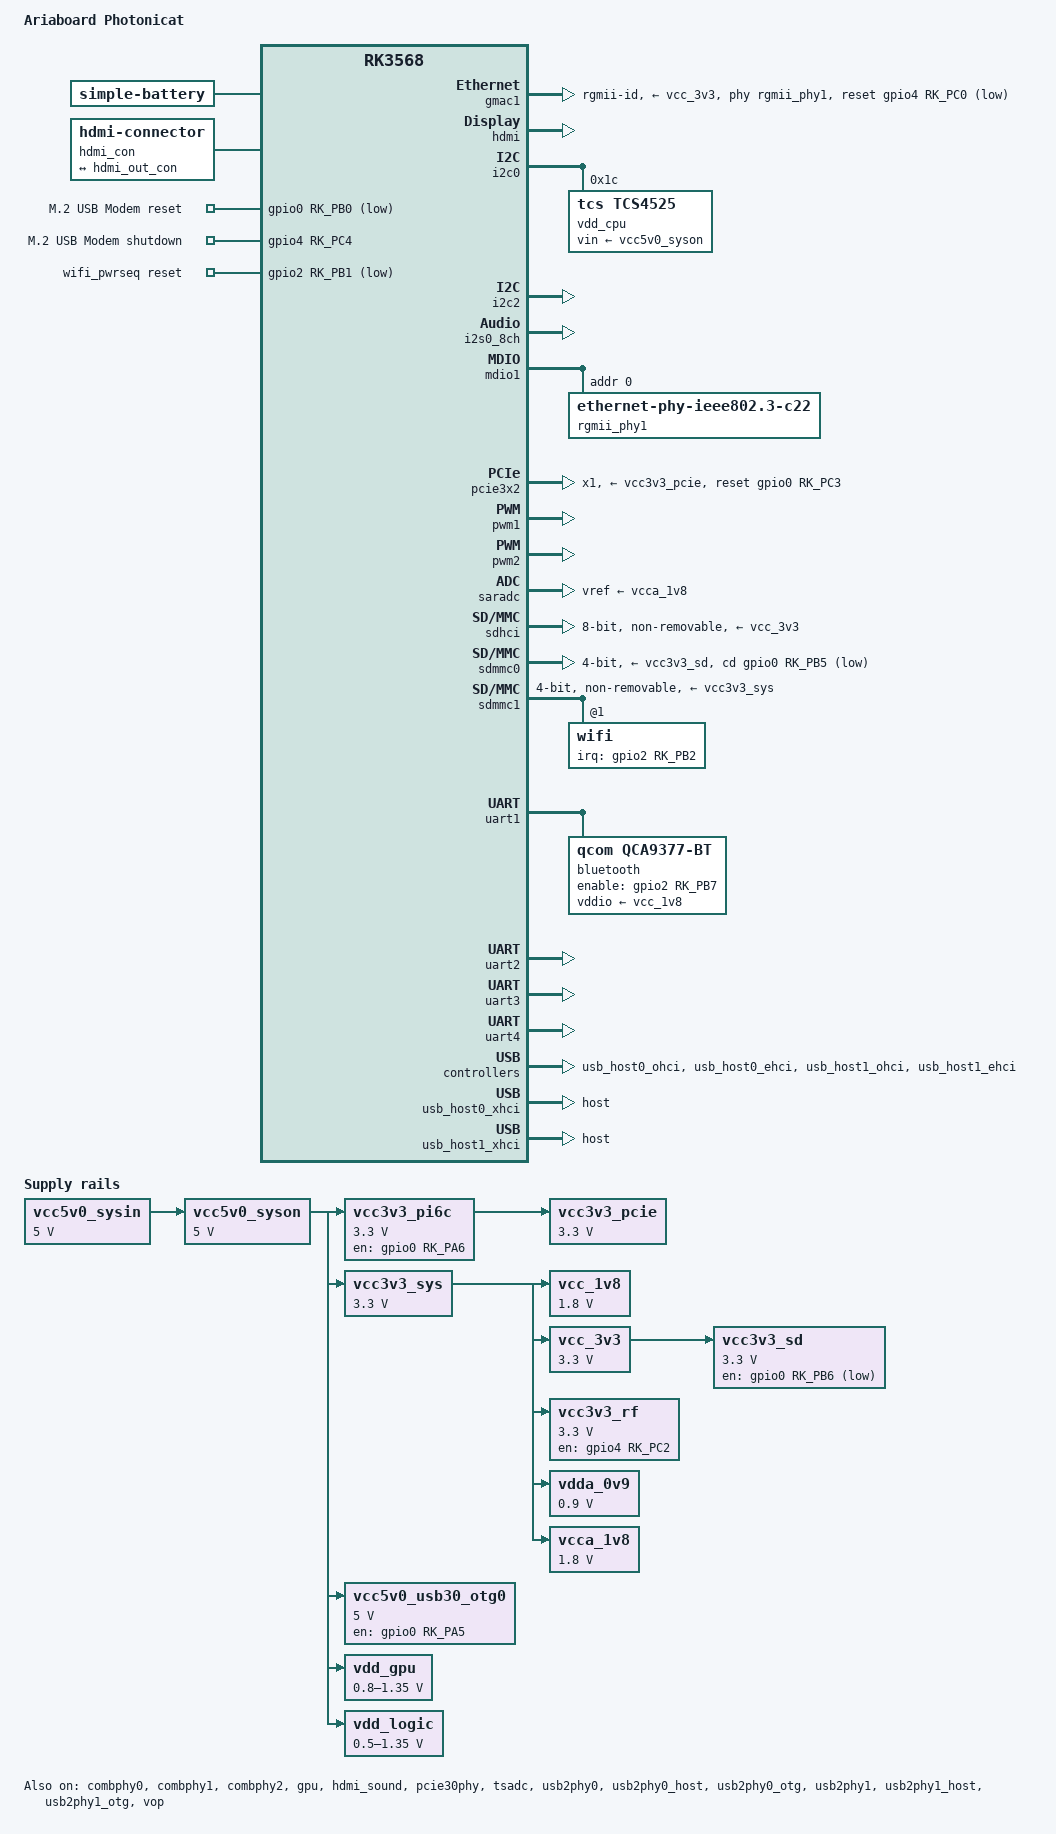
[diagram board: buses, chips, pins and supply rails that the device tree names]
// SPDX-License-Identifier: (GPL-2.0+ OR MIT)

/dts-v1/;

#include <dt-bindings/gpio/gpio.h>
#include <dt-bindings/input/input.h>
#include <dt-bindings/leds/common.h>
#include <dt-bindings/pinctrl/rockchip.h>
#include <dt-bindings/soc/rockchip,vop2.h>
#include <dt-bindings/soc/rockchip,boot-mode.h>
#include "rk3568.dtsi"

/ {
	model = "Ariaboard Photonicat";
	compatible = "ariaboard,photonicat", "rockchip,rk3568";

	aliases {
		ethernet0 = &gmac0;
		ethernet1 = &gmac1;
		mmc0 = &sdhci;
		mmc1 = &sdmmc0;
		mmc2 = &sdmmc1;
	};

	battery: battery {
		compatible = "simple-battery";
		device-chemistry = "lithium-ion";
		charge-full-design-microamp-hours = <6800000>;
		energy-full-design-microwatt-hours = <25000000>;
		voltage-max-design-microvolt = <4200000>;
		voltage-min-design-microvolt = <3400000>;

		ocv-capacity-celsius = <25>;
		ocv-capacity-table-0 =  <4100000 100>, <4040000 90>,
					<3980000 80>, <3920000 70>,
					<3870000 60>, <3820000 50>,
					<3790000 40>, <3770000 30>,
					<3740000 20>, <3680000 10>,
					<3450000 0>;
	};

	chosen: chosen {
		stdout-path = "serial2:1500000n8";
	};

	hdmi_con: hdmi-con {
		compatible = "hdmi-connector";
		type = "a";

		port {
			hdmi_con_in: endpoint {
				remote-endpoint = <&hdmi_out_con>;
			};
		};
	};

	rfkill-modem {
		compatible = "rfkill-gpio";
		label = "M.2 USB Modem";
		radio-type = "wwan";
		reset-gpios = <&gpio0 RK_PB0 GPIO_ACTIVE_LOW>;
		shutdown-gpios = <&gpio4 RK_PC4 GPIO_ACTIVE_HIGH>;
	};

	vcc_1v8: regulator-1v8-vcc {
		compatible = "regulator-fixed";
		regulator-name = "vcc_1v8";
		regulator-always-on;
		regulator-boot-on;
		regulator-min-microvolt = <1800000>;
		regulator-max-microvolt = <1800000>;
		vin-supply = <&vcc3v3_sys>;
	};

	vcc_3v3: regulator-3v3-vcc {
		compatible = "regulator-fixed";
		regulator-name = "vcc_3v3";
		regulator-always-on;
		regulator-boot-on;
		regulator-min-microvolt = <3300000>;
		regulator-max-microvolt = <3300000>;
		vin-supply = <&vcc3v3_sys>;
	};

	/* actually fed by vcc5v0_syson, dependent
	 * on pi6c clock generator
	 */
	vcc3v3_pcie: regulator-3v3-vcc-pcie {
		compatible = "regulator-fixed";
		regulator-name = "vcc3v3_pcie";
		regulator-always-on;
		regulator-boot-on;
		regulator-min-microvolt = <3300000>;
		regulator-max-microvolt = <3300000>;
		vin-supply = <&vcc3v3_pi6c>;
	};

	/* pi6c pcie clock generator */
	vcc3v3_pi6c: regulator-3v3-vcc-pi6c {
		compatible = "regulator-fixed";
		enable-active-high;
		gpios = <&gpio0 RK_PA6 GPIO_ACTIVE_HIGH>;
		pinctrl-names = "default";
		pinctrl-0 = <&pcie_pwren_h>;
		regulator-name = "vcc3v3_pi6c";
		regulator-min-microvolt = <3300000>;
		regulator-max-microvolt = <3300000>;
		vin-supply = <&vcc5v0_syson>;
	};

	vcc3v3_sd: regulator-3v3-vcc-sd {
		compatible = "regulator-fixed";
		gpio = <&gpio0 RK_PB6 GPIO_ACTIVE_LOW>;
		pinctrl-names = "default";
		pinctrl-0 = <&vcc_sd_h>;
		regulator-boot-on;
		regulator-name = "vcc3v3_sd";
		regulator-min-microvolt = <3300000>;
		regulator-max-microvolt = <3300000>;
		vin-supply = <&vcc_3v3>;
	};

	vcc3v3_sys: regulator-3v3-vcc-sys {
		compatible = "regulator-fixed";
		regulator-name = "vcc3v3_sys";
		regulator-always-on;
		regulator-boot-on;
		regulator-min-microvolt = <3300000>;
		regulator-max-microvolt = <3300000>;
		vin-supply = <&vcc5v0_syson>;
	};

	vcc3v3_rf: regulator-3v3-vcc-rf {
		compatible = "regulator-fixed";
		enable-active-high;
		gpio = <&gpio4 RK_PC2 GPIO_ACTIVE_HIGH>;
		pinctrl-names = "default";
		pinctrl-0 = <&vcc3v3_rf_pwren_en>;
		regulator-name = "vcc3v3_rf";
		regulator-min-microvolt = <3300000>;
		regulator-max-microvolt = <3300000>;
		vin-supply = <&vcc3v3_sys>;
	};

	vcc5v0_sysin: regulator-5v0-vcc-sysin {
		compatible = "regulator-fixed";
		regulator-name = "vcc5v0_sysin";
		regulator-always-on;
		regulator-boot-on;
		regulator-min-microvolt = <5000000>;
		regulator-max-microvolt = <5000000>;
	};

	vcc5v0_syson: regulator-5v0-vcc-syson {
		compatible = "regulator-fixed";
		regulator-name = "vcc5v0_syson";
		regulator-always-on;
		regulator-boot-on;
		regulator-min-microvolt = <5000000>;
		regulator-max-microvolt = <5000000>;
		vin-supply = <&vcc5v0_sysin>;
	};

	vcc5v0_usb30_otg0: regulator-5v0-vcc-usb-host {
		compatible = "regulator-fixed";
		enable-active-high;
		gpio = <&gpio0 RK_PA5 GPIO_ACTIVE_HIGH>;
		pinctrl-names = "default";
		pinctrl-0 = <&usb_host_pwren_h>;
		regulator-name = "vcc5v0_usb30_otg0";
		regulator-min-microvolt = <5000000>;
		regulator-max-microvolt = <5000000>;
		vin-supply = <&vcc5v0_syson>;
	};

	vdda_0v9: regulator-0v9-vdda {
		compatible = "regulator-fixed";
		regulator-name = "vdda_0v9";
		regulator-always-on;
		regulator-boot-on;
		regulator-min-microvolt = <900000>;
		regulator-max-microvolt = <900000>;
		vin-supply = <&vcc3v3_sys>;
	};

	vcca_1v8: regulator-1v8-vcca {
		compatible = "regulator-fixed";
		regulator-name = "vcca_1v8";
		regulator-always-on;
		regulator-boot-on;
		regulator-min-microvolt = <1800000>;
		regulator-max-microvolt = <1800000>;
		vin-supply = <&vcc3v3_sys>;
	};

	vdd_gpu: regulator-vdd-gpu {
		compatible = "pwm-regulator";
		pwms = <&pwm2 0 5000 1>;
		pwm-supply = <&vcc5v0_syson>;
		regulator-name = "vdd_gpu";
		regulator-min-microvolt = <800000>;
		regulator-max-microvolt = <1350000>;
		regulator-ramp-delay = <6001>;
		regulator-settling-time-up-us = <250>;
	};

	vdd_logic: regulator-vdd-logic {
		compatible = "pwm-regulator";
		pwms = <&pwm1 0 5000 1>;
		pwm-supply = <&vcc5v0_syson>;
		regulator-name = "vdd_logic";
		regulator-min-microvolt = <500000>;
		regulator-max-microvolt = <1350000>;
		regulator-ramp-delay = <6001>;
		regulator-settling-time-up-us = <250>;
	};

	wifi_pwrseq: wifi-pwrseq {
		compatible = "mmc-pwrseq-simple";
		clocks = <&pmucru CLK_RTC_32K>;
		clock-names = "ext_clock";
		pinctrl-names = "default";
		pinctrl-0 = <&wifi_reg_on_h &clk32k_out1>;
		post-power-on-delay-ms = <200>;
		reset-gpios = <&gpio2 RK_PB1 GPIO_ACTIVE_LOW>;
	};
};

&combphy0 {
	status = "okay";
};

&combphy1 {
	status = "okay";
};

&combphy2 {
	status = "okay";
};

&cpu0 {
	cpu-supply = <&vdd_cpu>;
};

&cpu1 {
	cpu-supply = <&vdd_cpu>;
};

&cpu2 {
	cpu-supply = <&vdd_cpu>;
};

&cpu3 {
	cpu-supply = <&vdd_cpu>;
};

&gmac0 {
	status = "disabled";
	/* Motorcomm YT8521SC LAN port (require SGMII) */
};

&gmac1 {
	assigned-clocks = <&cru SCLK_GMAC1_RX_TX>, <&cru SCLK_GMAC1>;
	assigned-clock-parents = <&cru SCLK_GMAC1_RGMII_SPEED>;
	assigned-clock-rates = <0>, <125000000>;
	clock_in_out = "output";
	phy-handle = <&rgmii_phy1>;
	phy-mode = "rgmii-id";
	phy-supply = <&vcc_3v3>;
	pinctrl-names = "default";
	pinctrl-0 = <&gmac1m1_miim
		     &gmac1m1_tx_bus2
		     &gmac1m1_rx_bus2
		     &gmac1m1_rgmii_clk
		     &gmac1m1_rgmii_bus>;
	snps,reset-gpio = <&gpio4 RK_PC0 GPIO_ACTIVE_LOW>;
	snps,reset-active-low;
	snps,reset-delays-us = <0 20000 100000>;
	tx_delay = <0x0>;
	rx_delay = <0x0>;
	status = "okay";
	/* Motorcomm YT8521SC WAN port */
};

&gpu {
	mali-supply = <&vdd_gpu>;
	status = "okay";
};

&hdmi {
	avdd-0v9-supply = <&vdda_0v9>;
	avdd-1v8-supply = <&vcca_1v8>;
	status = "okay";
};

&hdmi_in {
	hdmi_in_vp0: endpoint {
		remote-endpoint = <&vp0_out_hdmi>;
	};
};

&hdmi_out {
	hdmi_out_con: endpoint {
		remote-endpoint = <&hdmi_con_in>;
	};
};

&hdmi_sound {
	status = "okay";
};

&i2c0 {
	status = "okay";

	vdd_cpu: regulator@1c {
		compatible = "tcs,tcs4525";
		reg = <0x1c>;
		fcs,suspend-voltage-selector = <1>;
		regulator-name = "vdd_cpu";
		regulator-always-on;
		regulator-boot-on;
		regulator-min-microvolt = <800000>;
		regulator-max-microvolt = <1150000>;
		regulator-ramp-delay = <2300>;
		vin-supply = <&vcc5v0_syson>;

		regulator-state-mem {
			regulator-off-in-suspend;
		};
	};
};

&i2c2 {
	pinctrl-names = "default";
	pinctrl-0 = <&i2c2m1_xfer>;
	status = "okay";
};

&i2s0_8ch {
	status = "okay";
};

&mdio1 {
	rgmii_phy1: ethernet-phy@0 {
		compatible = "ethernet-phy-ieee802.3-c22";
		reg = <0x0>;
		rx-internal-delay-ps = <1500>;
		tx-internal-delay-ps = <1500>;
	};
};

&pcie30phy {
	phy-supply = <&vcc3v3_pi6c>;
	status = "okay";
};

&pcie3x2 {
	max-link-speed = <1>;
	num-lanes = <1>;
	pinctrl-names = "default";
	pinctrl-0 = <&pcie30x1m0_pins>;
	reset-gpios = <&gpio0 RK_PC3 GPIO_ACTIVE_HIGH>;
	vpcie3v3-supply = <&vcc3v3_pcie>;
	status = "okay";
	/* M.2 E-Key for PCIe WLAN */
};

&pinctrl {
	bt {
		bt_reg_on_h: bt-enable-h {
			rockchip,pins = <2 RK_PB7 RK_FUNC_GPIO &pcfg_pull_none>;
		};
	};

	pcie {
		pcie_pwren_h: pcie-enable-h {
			rockchip,pins = <0 RK_PA6 RK_FUNC_GPIO &pcfg_pull_none>;
		};
	};

	sdio-pwrseq {
		wifi_reg_on_h: wifi-enable-h {
			rockchip,pins = <2 RK_PB1 RK_FUNC_GPIO &pcfg_pull_none>;
		};
	};

	usb {
		vcc3v3_rf_pwren_en: vcc5v0-modem-en {
			rockchip,pins = <4 RK_PC2 RK_FUNC_GPIO &pcfg_pull_none>;
		};

		usb_host_pwren_h: vcc5v0-host-en {
			rockchip,pins = <0 RK_PA5 RK_FUNC_GPIO &pcfg_pull_none>;
		};
	};

	vcc_sd {
		vcc_sd_h: vcc-sd-h {
			rockchip,pins = <0 RK_PB6 RK_FUNC_GPIO &pcfg_pull_none>;
		};
	};

};

&pmu_io_domains {
	pmuio1-supply = <&vcc_3v3>;
	pmuio2-supply = <&vcc_3v3>;
	vccio1-supply = <&vcc_3v3>;
	vccio2-supply = <&vcc_1v8>;
	vccio3-supply = <&vcc_3v3>;
	vccio4-supply = <&vcc_1v8>;
	vccio5-supply = <&vcc_3v3>;
	vccio6-supply = <&vcc_3v3>;
	vccio7-supply = <&vcc_3v3>;
	status = "okay";
};

&pwm1 {
	status = "okay";
};

&pwm2 {
	status = "okay";
};

&saradc {
	vref-supply = <&vcca_1v8>;
	status = "okay";
};

&sdhci {
	bus-width = <8>;
	max-frequency = <200000000>;
	mmc-hs200-1_8v;
	non-removable;
	pinctrl-names = "default";
	pinctrl-0 = <&emmc_bus8 &emmc_clk &emmc_cmd>;
	vmmc-supply = <&vcc_3v3>;
	vqmmc-supply = <&vcc_1v8>;
	status = "okay";
	/* eMMC */
};

&sdmmc0 {
	bus-width = <4>;
	cap-sd-highspeed;
	cd-gpios = <&gpio0 RK_PB5 GPIO_ACTIVE_LOW>;
	disable-wp;
	no-1-8-v;
	pinctrl-names = "default";
	pinctrl-0 = <&sdmmc0_bus4 &sdmmc0_clk &sdmmc0_cmd>;
	vmmc-supply = <&vcc3v3_sd>;
	vqmmc-supply = <&vcc_3v3>;
	status = "okay";
	/* Micro SD card slot */
};

&sdmmc1 {
	bus-width = <4>;
	cap-sd-highspeed;
	cap-sdio-irq;
	keep-power-in-suspend;
	max-frequency = <150000000>;
	mmc-pwrseq = <&wifi_pwrseq>;
	non-removable;
	pinctrl-names = "default";
	pinctrl-0 = <&sdmmc1_bus4 &sdmmc1_cmd &sdmmc1_clk>;
	sd-uhs-sdr104;
	vmmc-supply = <&vcc3v3_sys>;
	vqmmc-supply = <&vcc_1v8>;
	#address-cells = <1>;
	#size-cells = <0>;
	status = "okay";
	/* Qualcomm Atheros QCA9377 */

	wifi: wifi@1 {
		reg = <1>;
		interrupt-parent = <&gpio2>;
		interrupts = <RK_PB2 IRQ_TYPE_LEVEL_HIGH>;
		interrupt-names = "host-wake";
	};
};

&tsadc {
	rockchip,hw-tshut-mode = <1>;
	rockchip,hw-tshut-polarity = <0>;
	status = "okay";
};

&uart1 {
	dma-names = "tx", "rx";
	pinctrl-names = "default";
	pinctrl-0 = <&uart1m0_xfer &uart1m0_ctsn &uart1m0_rtsn>;
	uart-has-rtscts;
	status = "okay";

	bluetooth: bluetooth {
		compatible = "qcom,qca9377-bt";
		clocks = <&pmucru CLK_RTC_32K>;
		clock-names = "lpo";
		enable-gpios = <&gpio2 RK_PB7 GPIO_ACTIVE_HIGH>;
		pinctrl-names = "default";
		pinctrl-0 = <&bt_reg_on_h>;
		vddio-supply = <&vcc_1v8>;
	};
};

&uart2 {
	status = "okay";
	/* Debug UART */
};

&uart3 {
	dma-names = "tx", "rx";
	status = "okay";
};

&uart4 {
	dma-names = "tx", "rx";
	status = "okay";
	/* Onboard power management MCU */
};

&usb_host0_ohci {
	status = "okay";
};

&usb_host0_ehci {
	status = "okay";
};

&usb_host0_xhci {
	dr_mode = "host";
	status = "okay";
	/* USB Type-A Port */
};

&usb_host1_ohci {
	status = "okay";
};

&usb_host1_ehci {
	status = "okay";
};

&usb_host1_xhci {
	dr_mode = "host";
	status = "okay";
	/* M.2 B-Key for USB Modem WWAN */
};

&usb2phy0 {
	status = "okay";
};

&usb2phy0_host {
	phy-supply = <&vcc3v3_rf>;
	status = "okay";
};

&usb2phy0_otg {
	phy-supply = <&vcc5v0_usb30_otg0>;
	status = "okay";
};

&usb2phy1 {
	status = "okay";
};

&usb2phy1_host {
	phy-supply = <&vcc3v3_rf>;
	status = "okay";
};

&usb2phy1_otg {
	phy-supply = <&vcc5v0_usb30_otg0>;
	status = "okay";
};

&vop {
	assigned-clocks = <&cru DCLK_VOP0>, <&cru DCLK_VOP1>;
	assigned-clock-parents = <&pmucru PLL_HPLL>, <&cru PLL_VPLL>;
	status = "okay";
};

&vop_mmu {
	status = "okay";
};

&vp0 {
	vp0_out_hdmi: endpoint@ROCKCHIP_VOP2_EP_HDMI0 {
		reg = <ROCKCHIP_VOP2_EP_HDMI0>;
		remote-endpoint = <&hdmi_in_vp0>;
	};
};
